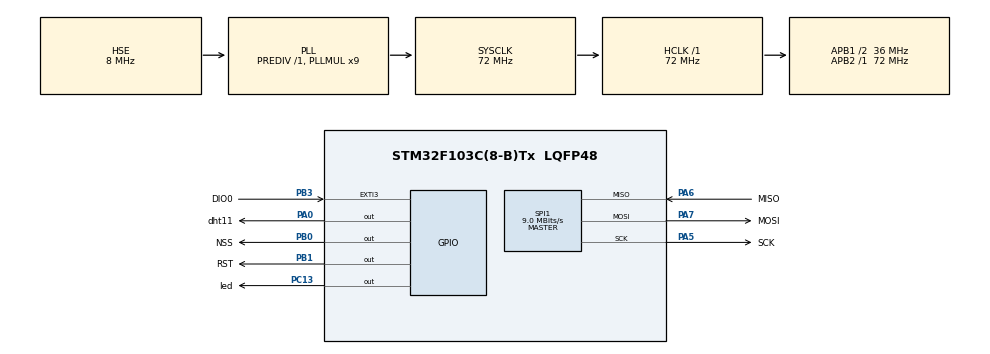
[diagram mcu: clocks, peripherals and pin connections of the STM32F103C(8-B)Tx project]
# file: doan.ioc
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Mcu.Family=STM32F1
Mcu.Name=STM32F103C(8-B)Tx
Mcu.Package=LQFP48
NVIC.EXTI3_IRQn=true\:0\:0\:false\:false\:true
NVIC.PriorityGroup=NVIC_PRIORITYGROUP_4
PA0-WKUP.GPIO_Label=dht11
PA0-WKUP.Signal=GPIO_Output
PA13.Mode=Serial_Wire
PA13.Signal=SYS_JTMS-SWDIO
PA14.Mode=Serial_Wire
PA14.Signal=SYS_JTCK-SWCLK
PA5.GPIO_Label=SCK
PA5.Mode=Full_Duplex_Master
PA5.Signal=SPI1_SCK
PA6.GPIO_Label=MISO
PA6.Mode=Full_Duplex_Master
PA6.Signal=SPI1_MISO
PA7.GPIO_Label=MOSI
PA7.Mode=Full_Duplex_Master
PA7.Signal=SPI1_MOSI
PB0.GPIO_Label=NSS
PB0.PinState=GPIO_PIN_SET
PB0.Signal=GPIO_Output
PB1.GPIO_Label=RST
PB1.PinState=GPIO_PIN_SET
PB1.Signal=GPIO_Output
PB3.GPIO_Label=DIO0
PB3.Signal=GPXTI3
PC13-TAMPER-RTC.GPIO_Label=led
PC13-TAMPER-RTC.Signal=GPIO_Output
PD0-OSC_IN.Mode=HSE-External-Oscillator
PD0-OSC_IN.Signal=RCC_OSC_IN
PD1-OSC_OUT.Mode=HSE-External-Oscillator
PD1-OSC_OUT.Signal=RCC_OSC_OUT
ProjectManager.HeapSize=0x200
ProjectManager.StackSize=0x400
ProjectManager.TargetToolchain=MDK-ARM V5
RCC.AHBFreq_Value=72000000
RCC.APB1CLKDivider=RCC_HCLK_DIV2
RCC.APB1Freq_Value=36000000
RCC.APB1TimCLKDivider=1
RCC.APB1TimFreq_Value=36000000
RCC.APB2Freq_Value=72000000
RCC.APB2TimFreq_Value=72000000
RCC.HCLKFreq_Value=72000000
RCC.HSIState=RCC_HSI_ON
RCC.PLLMUL=RCC_PLL_MUL9
RCC.PLLSourceVirtual=RCC_PLLSOURCE_HSE
RCC.SYSCLKFreq_VALUE=72000000
RCC.SYSCLKSource=RCC_SYSCLKSOURCE_PLLCLK
RCC.USBFreq_Value=72000000
SPI1.BaudRatePrescaler=SPI_BAUDRATEPRESCALER_8
SPI1.CalculateBaudRate=9.0 MBits/s
SPI1.Mode=SPI_MODE_MASTER
TIM1.Period=0xffff-1
TIM1.Prescaler=72-1
VP_TIM1_VS_ClockSourceINT.Mode=Internal
board=doan

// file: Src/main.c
/**
  ******************************************************************************
  * File Name          : main.c
  * Description        : Main program body
  ******************************************************************************
  *
  * COPYRIGHT(c) 2023 STMicroelectronics
  *
  * Redistribution and use in source and binary forms, with or without modification,
  * are permitted provided that the following conditions are met:
  *   1. Redistributions of source code must retain the above copyright notice,
  *      this list of conditions and the following disclaimer.
  *   2. Redistributions in binary form must reproduce the above copyright notice,
  *      this list of conditions and the following disclaimer in the documentation
  *      and/or other materials provided with the distribution.
  *   3. Neither the name of STMicroelectronics nor the names of its contributors
  *      may be used to endorse or promote products derived from this software
  *      without specific prior written permission.
  *
  * THIS SOFTWARE IS PROVIDED BY THE COPYRIGHT HOLDERS AND CONTRIBUTORS "AS IS"
  * AND ANY EXPRESS OR IMPLIED WARRANTIES, INCLUDING, BUT NOT LIMITED TO, THE
  * IMPLIED WARRANTIES OF MERCHANTABILITY AND FITNESS FOR A PARTICULAR PURPOSE ARE
  * DISCLAIMED. IN NO EVENT SHALL THE COPYRIGHT HOLDER OR CONTRIBUTORS BE LIABLE
  * FOR ANY DIRECT, INDIRECT, INCIDENTAL, SPECIAL, EXEMPLARY, OR CONSEQUENTIAL
  * DAMAGES (INCLUDING, BUT NOT LIMITED TO, PROCUREMENT OF SUBSTITUTE GOODS OR
  * SERVICES; LOSS OF USE, DATA, OR PROFITS; OR BUSINESS INTERRUPTION) HOWEVER
  * CAUSED AND ON ANY THEORY OF LIABILITY, WHETHER IN CONTRACT, STRICT LIABILITY,
  * OR TORT (INCLUDING NEGLIGENCE OR OTHERWISE) ARISING IN ANY WAY OUT OF THE USE
  * OF THIS SOFTWARE, EVEN IF ADVISED OF THE POSSIBILITY OF SUCH DAMAGE.
  *
  ******************************************************************************
  */
#include "stm32f1xx_hal.h"

/* USER CODE BEGIN Includes */
#include "LoRa.h"
/* USER CODE END Includes */

SPI_HandleTypeDef hspi1;

TIM_HandleTypeDef htim1;

/* USER CODE BEGIN PV */
/* Private variables ---------------------------------------------------------*/
LoRa myLoRa;
uint8_t LoRa_stat;
uint8_t Tx_Buffer[128];
uint8_t Rx_Buffer[128];
int			RSSI;
/* USER CODE END PV */

void SystemClock_Config(void);
static void MX_GPIO_Init(void);
static void MX_SPI1_Init(void);
static void MX_TIM1_Init(void);

/* USER CODE BEGIN PFP */
/* Private function prototypes -----------------------------------------------*/

/* USER CODE END PFP */

/* USER CODE BEGIN 0 */
void HAL_GPIO_EXTI_Callback(uint16_t GPIO_Pin)
{
	if(GPIO_Pin == DIO0_Pin){
		LoRa_receive(&myLoRa, Rx_Buffer, 128);
	}
}
/* USER CODE END 0 */

int main(void)
{

  /* USER CODE BEGIN 1 */
//	HAL_GPIO_WritePin(GPIOC, GPIO_PIN_13, GPIO_PIN_SET);
  /* USER CODE END 1 */

  /* MCU Configuration----------------------------------------------------------*/

  /* Reset of all peripherals, Initializes the Flash interface and the Systick. */
  HAL_Init();

  /* Configure the system clock */
  SystemClock_Config();

  /* Initialize all configured peripherals */
  MX_GPIO_Init();
  MX_SPI1_Init();
  MX_TIM1_Init();

  /* USER CODE BEGIN 2 */
	myLoRa = newLoRa();

	myLoRa.hSPIx                 = &hspi1;
	myLoRa.CS_port               = NSS_GPIO_Port;
	myLoRa.CS_pin                = NSS_Pin;
	myLoRa.reset_port            = RST_GPIO_Port;
	myLoRa.reset_pin             = RST_Pin;
	myLoRa.DIO0_port						 = DIO0_GPIO_Port;
	myLoRa.DIO0_pin							 = DIO0_Pin;

	myLoRa.frequency             = 433;							  // default = 433 MHz
	myLoRa.spredingFactor        = SF_7;							// default = SF_7
	myLoRa.bandWidth			       = BW_125KHz;				  // default = BW_125KHz
	myLoRa.crcRate				       = CR_4_5;						// default = CR_4_5
	myLoRa.power					       = POWER_20db;				// default = 20db
	myLoRa.overCurrentProtection = 120; 							// default = 100 mA
	myLoRa.preamble				       = 10;		  					// default = 8;

	LoRa_reset(&myLoRa);
	if(LoRa_init(&myLoRa) == LORA_OK){
			LoRa_stat = 1;
	}
	LoRa_startReceiving(&myLoRa);
//	Tx_Buffer[0] = 45;
//	Tx_Buffer[1] = 0x12;
//	Tx_Buffer[2] = 0x45;
//	LoRa_transmit(&myLoRa,Tx_Buffer,3,100);
  /* USER CODE END 2 */

  /* Infinite loop */
  while (1)
  {
		HAL_GPIO_TogglePin(led_GPIO_Port, led_Pin);
		HAL_Delay(500);
		//LoRa_transmit(&myLoRa,Tx_Buffer,3,100);
		//HAL_Delay(200);
  }

}

/** System Clock Configuration
*/
void SystemClock_Config(void)
{

  RCC_OscInitTypeDef RCC_OscInitStruct;
  RCC_ClkInitTypeDef RCC_ClkInitStruct;

  RCC_OscInitStruct.OscillatorType = RCC_OSCILLATORTYPE_HSE;
  RCC_OscInitStruct.HSEState = RCC_HSE_ON;
  RCC_OscInitStruct.HSEPredivValue = RCC_HSE_PREDIV_DIV1;
  RCC_OscInitStruct.PLL.PLLState = RCC_PLL_ON;
  RCC_OscInitStruct.PLL.PLLSource = RCC_PLLSOURCE_HSE;
  RCC_OscInitStruct.PLL.PLLMUL = RCC_PLL_MUL9;
  HAL_RCC_OscConfig(&RCC_OscInitStruct);

  RCC_ClkInitStruct.ClockType = RCC_CLOCKTYPE_HCLK|RCC_CLOCKTYPE_SYSCLK
                              |RCC_CLOCKTYPE_PCLK1|RCC_CLOCKTYPE_PCLK2;
  RCC_ClkInitStruct.SYSCLKSource = RCC_SYSCLKSOURCE_PLLCLK;
  RCC_ClkInitStruct.AHBCLKDivider = RCC_SYSCLK_DIV1;
  RCC_ClkInitStruct.APB1CLKDivider = RCC_HCLK_DIV2;
  RCC_ClkInitStruct.APB2CLKDivider = RCC_HCLK_DIV1;
  HAL_RCC_ClockConfig(&RCC_ClkInitStruct, FLASH_LATENCY_2);

  HAL_SYSTICK_Config(HAL_RCC_GetHCLKFreq()/1000);

  HAL_SYSTICK_CLKSourceConfig(SYSTICK_CLKSOURCE_HCLK);

  /* SysTick_IRQn interrupt configuration */
  HAL_NVIC_SetPriority(SysTick_IRQn, 0, 0);
}

/* SPI1 init function */
void MX_SPI1_Init(void)
{

  hspi1.Instance = SPI1;
  hspi1.Init.Mode = SPI_MODE_MASTER;
  hspi1.Init.Direction = SPI_DIRECTION_2LINES;
  hspi1.Init.DataSize = SPI_DATASIZE_8BIT;
  hspi1.Init.CLKPolarity = SPI_POLARITY_LOW;
  hspi1.Init.CLKPhase = SPI_PHASE_1EDGE;
  hspi1.Init.NSS = SPI_NSS_SOFT;
  hspi1.Init.BaudRatePrescaler = SPI_BAUDRATEPRESCALER_8;
  hspi1.Init.FirstBit = SPI_FIRSTBIT_MSB;
  hspi1.Init.TIMode = SPI_TIMODE_DISABLE;
  hspi1.Init.CRCCalculation = SPI_CRCCALCULATION_DISABLE;
  hspi1.Init.CRCPolynomial = 10;
  HAL_SPI_Init(&hspi1);

}

/* TIM1 init function */
void MX_TIM1_Init(void)
{

  TIM_ClockConfigTypeDef sClockSourceConfig;
  TIM_MasterConfigTypeDef sMasterConfig;

  htim1.Instance = TIM1;
  htim1.Init.Prescaler = 72-1;
  htim1.Init.CounterMode = TIM_COUNTERMODE_UP;
  htim1.Init.Period = 0xffff-1;
  htim1.Init.ClockDivision = TIM_CLOCKDIVISION_DIV1;
  htim1.Init.RepetitionCounter = 0;
  HAL_TIM_Base_Init(&htim1);

  sClockSourceConfig.ClockSource = TIM_CLOCKSOURCE_INTERNAL;
  HAL_TIM_ConfigClockSource(&htim1, &sClockSourceConfig);

  sMasterConfig.MasterOutputTrigger = TIM_TRGO_RESET;
  sMasterConfig.MasterSlaveMode = TIM_MASTERSLAVEMODE_DISABLE;
  HAL_TIMEx_MasterConfigSynchronization(&htim1, &sMasterConfig);

}

/** Configure pins as
        * Analog
        * Input
        * Output
        * EVENT_OUT
        * EXTI
*/
void MX_GPIO_Init(void)
{

  GPIO_InitTypeDef GPIO_InitStruct;

  /* GPIO Ports Clock Enable */
  __HAL_RCC_GPIOC_CLK_ENABLE();
  __HAL_RCC_GPIOD_CLK_ENABLE();
  __HAL_RCC_GPIOA_CLK_ENABLE();
  __HAL_RCC_GPIOB_CLK_ENABLE();

  /*Configure GPIO pin Output Level */
  HAL_GPIO_WritePin(led_GPIO_Port, led_Pin, GPIO_PIN_RESET);

  /*Configure GPIO pin Output Level */
  HAL_GPIO_WritePin(dht11_GPIO_Port, dht11_Pin, GPIO_PIN_RESET);

  /*Configure GPIO pin Output Level */
  HAL_GPIO_WritePin(GPIOB, NSS_Pin|RST_Pin, GPIO_PIN_SET);

  /*Configure GPIO pin : led_Pin */
  GPIO_InitStruct.Pin = led_Pin;
  GPIO_InitStruct.Mode = GPIO_MODE_OUTPUT_PP;
  GPIO_InitStruct.Speed = GPIO_SPEED_FREQ_LOW;
  HAL_GPIO_Init(led_GPIO_Port, &GPIO_InitStruct);

  /*Configure GPIO pin : dht11_Pin */
  GPIO_InitStruct.Pin = dht11_Pin;
  GPIO_InitStruct.Mode = GPIO_MODE_OUTPUT_PP;
  GPIO_InitStruct.Speed = GPIO_SPEED_FREQ_LOW;
  HAL_GPIO_Init(dht11_GPIO_Port, &GPIO_InitStruct);

  /*Configure GPIO pins : NSS_Pin RST_Pin */
  GPIO_InitStruct.Pin = NSS_Pin|RST_Pin;
  GPIO_InitStruct.Mode = GPIO_MODE_OUTPUT_PP;
  GPIO_InitStruct.Speed = GPIO_SPEED_FREQ_LOW;
  HAL_GPIO_Init(GPIOB, &GPIO_InitStruct);

  /*Configure GPIO pin : DIO0_Pin */
  GPIO_InitStruct.Pin = DIO0_Pin;
  GPIO_InitStruct.Mode = GPIO_MODE_IT_RISING;
  GPIO_InitStruct.Pull = GPIO_NOPULL;
  HAL_GPIO_Init(DIO0_GPIO_Port, &GPIO_InitStruct);

  /* EXTI interrupt init*/
  HAL_NVIC_SetPriority(EXTI3_IRQn, 0, 0);
  HAL_NVIC_EnableIRQ(EXTI3_IRQn);

}

/************************ (C) COPYRIGHT STMicroelectronics *****END OF FILE****/
